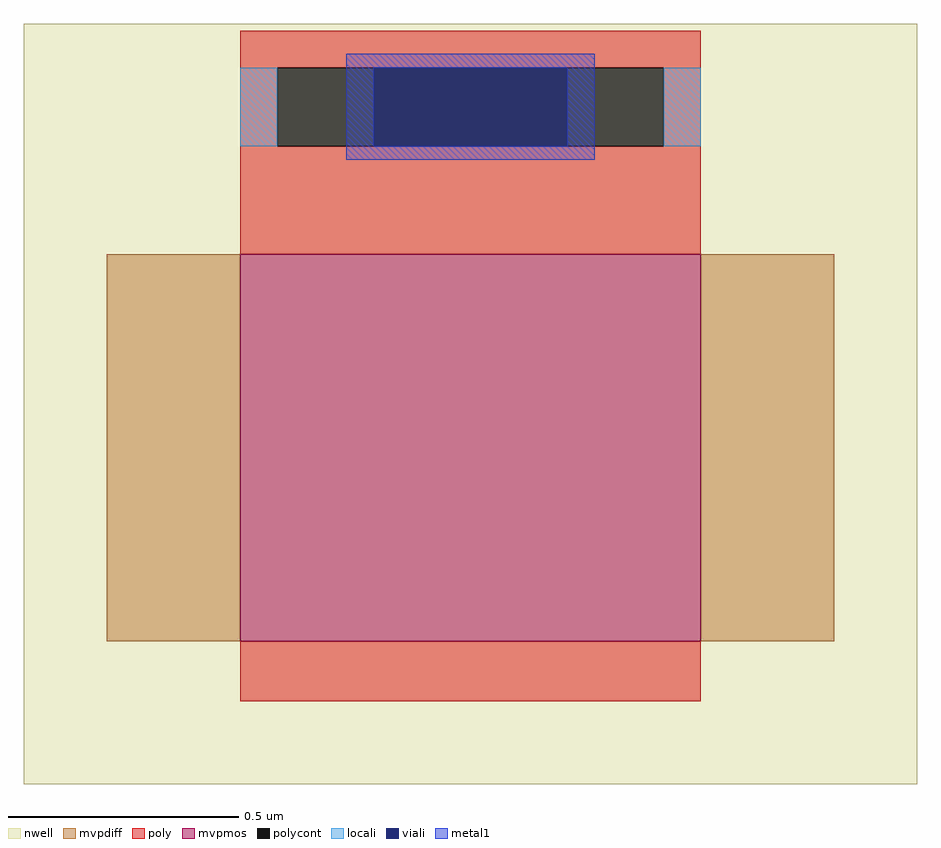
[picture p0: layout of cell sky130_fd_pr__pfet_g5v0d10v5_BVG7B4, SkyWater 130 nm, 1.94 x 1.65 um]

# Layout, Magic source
magic
tech sky130A
magscale 1 2
<< nwell >>
rect -194 -182 194 148
<< mvpmos >>
rect -100 -120 100 48
<< mvpdiff >>
rect -158 -120 -100 48
rect 100 -120 158 48
<< poly >>
rect -100 129 100 145
rect -100 95 -84 129
rect 84 95 100 129
rect -100 48 100 95
rect -100 -146 100 -120
<< polycont >>
rect -84 95 84 129
<< locali >>
rect -100 95 -84 129
rect 84 95 100 129
<< viali >>
rect -42 95 42 129
<< metal1 >>
rect -54 129 54 135
rect -54 95 -42 129
rect 42 95 54 129
rect -54 89 54 95
<< properties >>
string gencell sky130_fd_pr__pfet_g5v0d10v5
string library sky130
string parameters w 0.84 l 1.0 m 1 nf 1 diffcov 100 polycov 100 guard 0 glc 1 grc 1 gtc 1 gbc 1 tbcov 100 rlcov 100 topc 1 botc 0 poverlap 0 doverlap 1 lmin 0.50 wmin 0.42 compatible {sky130_fd_pr__pfet_01v8  sky130_fd_pr__pfet_01v8_lvt sky130_fd_pr__pfet_01v8_hvt  sky130_fd_pr__pfet_g5v0d10v5} full_metal 1 viasrc 50 viadrn 50 viagate 50 viagb 0 viagr 0 viagl 0 viagt 0
<< end >>
